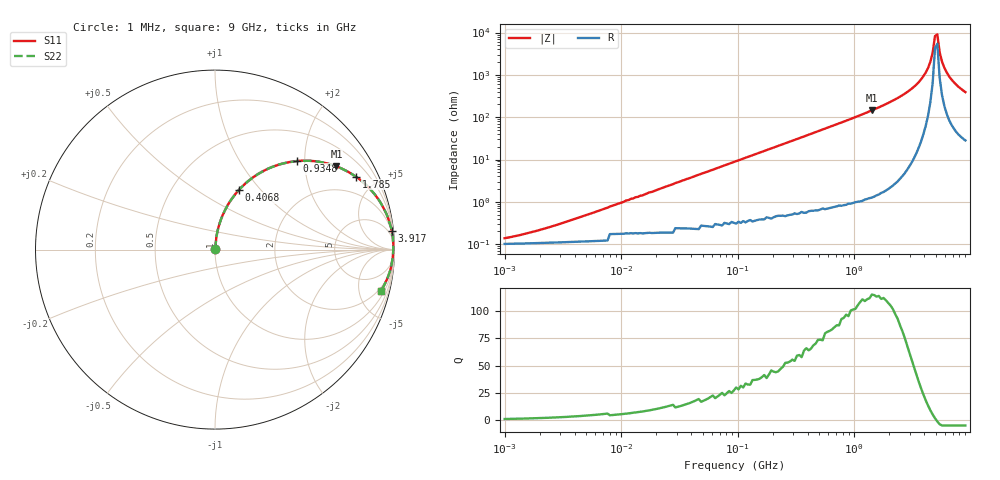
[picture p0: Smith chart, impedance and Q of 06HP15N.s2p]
# MHz S MA R 50
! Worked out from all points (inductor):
!   198 points, 1 MHz to 9 GHz, reference 50 ohm
!   read as one part in series: L = 15 nH near 3.648 MHz
!   highest Q = 115 at 1.417 GHz (marker M1), where L = 16.3 nH
!   self-resonance near 4.935 GHz
!   S11 on the Smith chart (normalised r, x): 1 MHz: 1.00, +0.00; 406.8 MHz: 1.01, +0.77; 934.8 MHz: 1.02, +1.83; 1.785 GHz: 1.03, +3.84; 3.917 GHz: 2, +18; 9 GHz: 1.55, -7.82
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1  0.001395 42.4  0.999 -0.1  0.999 -0.1  0.001395 42.4
4.596  0.004521 72.9  0.999 -0.2  0.999 -0.2  0.004521 72.9
21.124  0.02 83.3  0.998 -1.1  0.998 -1.1  0.02 83.3
97.086  0.091 82.8  0.993 -5.2  0.993 -5.2  0.091 82.8
223.079  0.205 76.9  0.974 -11.8  0.974 -11.8  0.205 76.9
406.817  0.358 68.1  0.928 -21.0  0.928 -21.0  0.358 68.1
446.214  0.388 66.3  0.916 -22.8  0.916 -22.8  0.388 66.3
934.76  0.671 47.3  0.735 -42.1  0.735 -42.1  0.671 47.3
1416.937  0.82 34.4  0.566 -55.0  0.566 -55.0  0.82 34.4
1785.304  0.884 27.4  0.46 -62.1  0.46 -62.1  0.884 27.4
2050.827  0.915 23.3  0.395 -66.2  0.395 -66.2  0.915 23.3
3108.706  0.975 11.9  0.207 -77.0  0.207 -77.0  0.975 11.9
3916.888  0.99 6.2  0.107 -81.4  0.107 -81.4  0.99 6.2
4499.436  0.993 2.8  0.049 -80.9  0.049 -80.9  0.993 2.8
4712.272  0.994 1.7  0.03 -77.3  0.03 -77.3  0.994 1.7
4935.176  0.994 0.6  0.012 -58.6  0.012 -58.6  0.994 0.6
5168.624  0.993 -0.5  0.011 52.4  0.011 52.4  0.993 -0.5
5413.115  0.992 -1.6  0.029 74.0  0.029 74.0  0.992 -1.6
5669.171  0.991 -2.7  0.048 78.0  0.048 78.0  0.991 -2.7
5937.339  0.989 -3.8  0.067 79.0  0.067 79.0  0.989 -3.8
6820.382  0.982 -7.2  0.125 77.9  0.125 77.9  0.982 -7.2
9000  0.953 -14.0  0.243 71.8  0.243 71.8  0.953 -14.0
